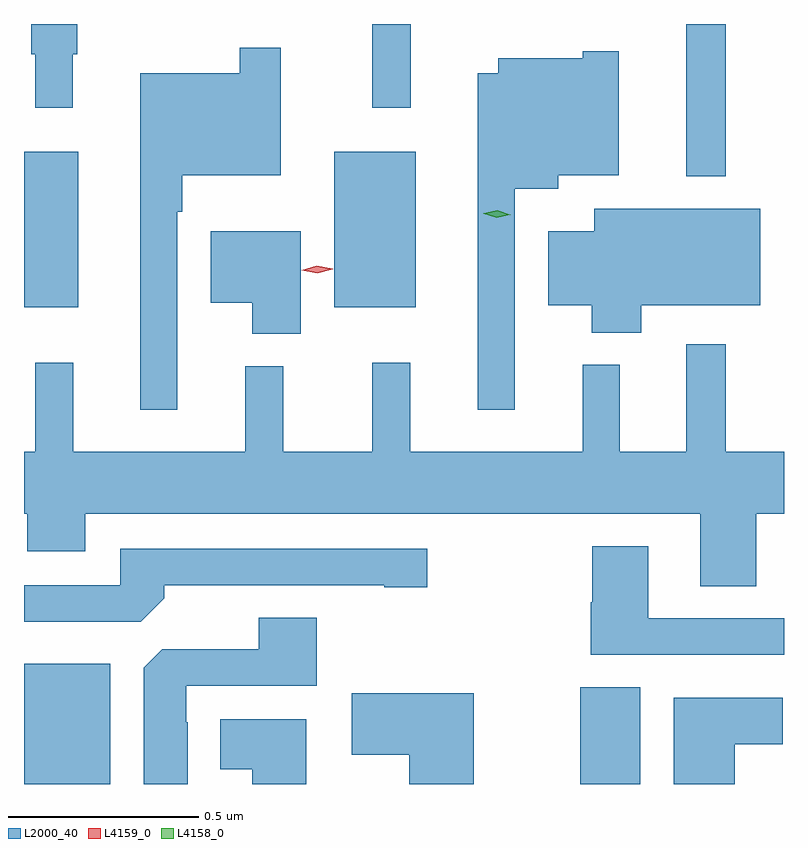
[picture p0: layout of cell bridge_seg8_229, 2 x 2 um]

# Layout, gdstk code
import gdstk
lib = gdstk.Library(unit=1e-6, precision=1e-09)
def R(c, l, rs):  # rectangles x0, y0, x1, y1
    for r in rs: c.add(gdstk.rectangle(r[:2], r[2:], *l))
def P(c, l, *ps):  # polygons
    for p in ps: c.add(gdstk.Polygon(p, *l))
L2000_40 = (2000, 40)
L4158_0 = (4158, 0)
L4159_0 = (4159, 0)

bridge_seg8_229 = lib.new_cell('bridge_seg8_229')
R(bridge_seg8_229, L2000_40, [(122.582,1082.489,122.809,1082.806), (124.046,1082.489,124.204,1082.744), (122.582,1083.743,122.725,1084.153), (123.398,1083.743,123.613,1084.153), (124.325,1084.088,124.429,1084.489), (123.499,1084.269,123.6,1084.489)])
P(bridge_seg8_229, L2000_40, [(122.71,1084.409),(122.722,1084.409),(122.722,1084.489),(122.601,1084.489),(122.601,1084.409),(122.612,1084.409),(122.612,1084.269),(122.71,1084.269)],
  [(122.985,1083.995),(122.998,1083.995),(122.998,1084.091),(123.258,1084.091),(123.258,1084.426),(123.15,1084.426),(123.15,1084.36),(122.888,1084.36),(122.888,1083.474),(122.985,1083.474)],
  [(123.873,1084.055),(123.988,1084.055),(123.988,1084.091),(124.147,1084.091),(124.147,1084.417),(124.053,1084.417),(124.053,1084.399),(123.83,1084.399),(123.83,1084.36),(123.776,1084.36),(123.776,1083.474),(123.873,1083.474)],
  [(124.206,1083.749),(124.519,1083.749),(124.519,1084.003),(124.082,1084.003),(124.082,1083.943),(123.962,1083.943),(123.962,1083.749),(124.076,1083.749),(124.076,1083.677),(124.206,1083.677)],
  [(123.31,1083.943),(123.074,1083.943),(123.074,1083.755),(123.182,1083.755),(123.182,1083.674),(123.31,1083.674)],
  [(124.509,1083.2),(124.582,1083.2),(124.582,1083.364),(124.429,1083.364),(124.429,1083.646),(124.325,1083.646),(124.325,1083.364),(124.15,1083.364),(124.15,1083.592),(124.052,1083.592),(124.052,1083.364),(123.599,1083.364),(123.599,1083.598),(123.499,1083.598),(123.499,1083.364),(123.264,1083.364),(123.264,1083.589),(123.164,1083.589),(123.164,1083.364),(122.711,1083.364),(122.711,1083.598),(122.612,1083.598),(122.612,1083.364),(122.582,1083.364),(122.582,1083.2),(122.591,1083.2),(122.591,1083.101),(122.743,1083.101),(122.743,1083.2),(124.361,1083.2),(124.361,1083.01),(124.509,1083.01)],
  [(124.582,1082.925),(124.225,1082.925),(124.225,1083.115),(124.078,1083.115),(124.078,1082.967),(124.073,1082.967),(124.073,1082.829),(124.582,1082.829)],
  [(122.951,1082.978),(122.951,1083.012),(123.53,1083.012),(123.53,1083.007),(123.643,1083.007),(123.643,1083.108),(122.835,1083.108),(122.835,1083.012),(122.582,1083.012),(122.582,1082.916),(122.889,1082.916)],
  [(123.013,1082.651),(123.009,1082.651),(123.009,1082.748),(123.353,1082.748),(123.353,1082.927),(123.2,1082.927),(123.2,1082.844),(122.946,1082.844),(122.897,1082.795),(122.897,1082.489),(123.013,1082.489)],
  [(123.766,1082.728),(123.444,1082.728),(123.444,1082.566),(123.596,1082.566),(123.596,1082.489),(123.766,1082.489)],
  [(124.453,1082.594),(124.579,1082.594),(124.579,1082.716),(124.292,1082.716),(124.292,1082.489),(124.453,1082.489)],
  [(123.325,1082.659),(123.098,1082.659),(123.098,1082.528),(123.182,1082.528),(123.182,1082.489),(123.325,1082.489)])
P(bridge_seg8_229, L4158_0, [(123.826,1083.979),(123.792,1083.99),(123.791,1083.991),(123.792,1083.991),(123.828,1083.999),(123.862,1083.987),(123.863,1083.987),(123.862,1083.987)])
P(bridge_seg8_229, L4159_0, [(123.354,1083.833),(123.313,1083.841),(123.313,1083.841),(123.313,1083.841),(123.353,1083.853),(123.394,1083.845),(123.395,1083.844),(123.394,1083.844)])

lib.write_gds('bridge_seg8_229.gds')
